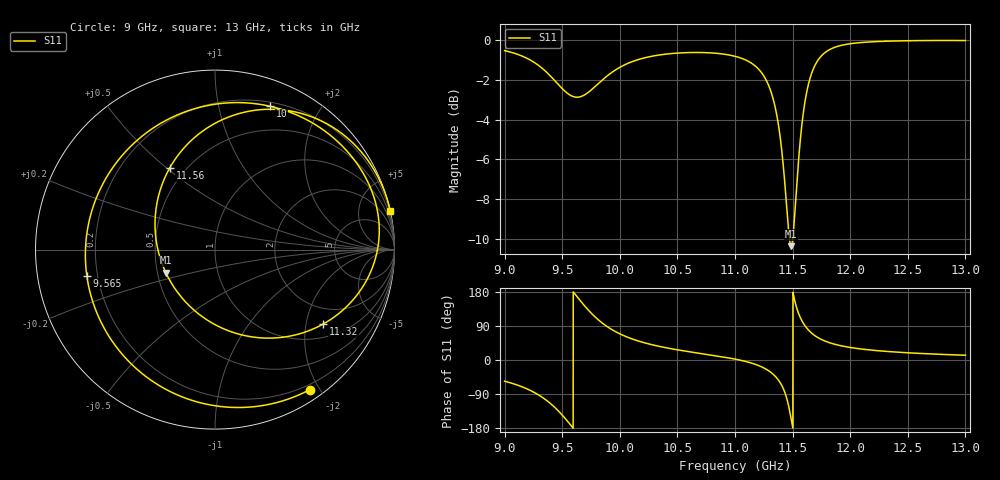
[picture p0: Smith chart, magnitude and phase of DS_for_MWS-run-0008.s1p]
! TOUCHSTONE file generated by CST DESIGN STUDIO
! Date and time: Tue Feb  4 18:27:30 2025
! Project name: C:\Work\MatlabApps\UnitCellOptimizationMatlab\CST\unitcell.cst
! Tree item: Tasks\Sweep1\SPara1\S-Parameters
! Header version: 2024
! Port assignment regex: !\s*Touchstone port\s*([0-9]+)\s*=\s*(CST MWS port|CST DES external port|CST DES block port)\s*(.+)\s* \(\"(.*)\"\)(\s*mode\s*([0-9]+))?.*
! Touchstone port assignment:
! Touchstone port 1 = CST DES external port 1 ("")
# GHz S MA R 50
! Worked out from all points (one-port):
!   4001 points, 9 GHz to 13 GHz, reference 50 ohm
!   lowest |S11| = -10.4 dB at 11.49 GHz (marker M1), VSWR 1.87, Z = 27.7 - j7.81 ohm
!   |S11| at or under -10 dB: 11.47238 GHz to 11.50115 GHz (28.77 MHz wide, 0.25 % of centre)
!   S11 on the Smith chart (normalised r, x): 9 GHz: 0.13, -1.88; 9.565 GHz: 0.16, -0.10; 10 GHz: 0.24, +1.43; 11.32 GHz: 1.40, -2.51; 11.56 GHz: 0.41, +0.51; 13 GHz: 0.02, +9.11
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9  0.9423 -55.9
9.158  0.9116 -71.5
9.309  0.8586 -94.9
9.408  0.8075 -117.5
9.5  0.7561 -145.2
9.565  0.7289 -168.5
9.658  0.7211 156.1
9.774  0.7599 117.0
9.874  0.8066 91.6
10  0.8553 69.1
10.001  0.8556 68.9
10.214  0.9037 45.4
10.5  0.9291 26.9
11  0.912 2.4
11.197  0.8509 -13.7
11.32  0.7308 -34.7
11.416  0.4942 -73.3
11.451  0.3726 -103.3
11.487  0.3027 -155.0
11.5  0.3142 -176.5
11.557  0.5207 118.9
11.593  0.6561 97.1
11.631  0.7611 81.3
11.743  0.9095 55.2
11.851  0.9572 42.7
12  0.9812 33.1
12.5  0.9983 19.1
13  0.9994 12.5
